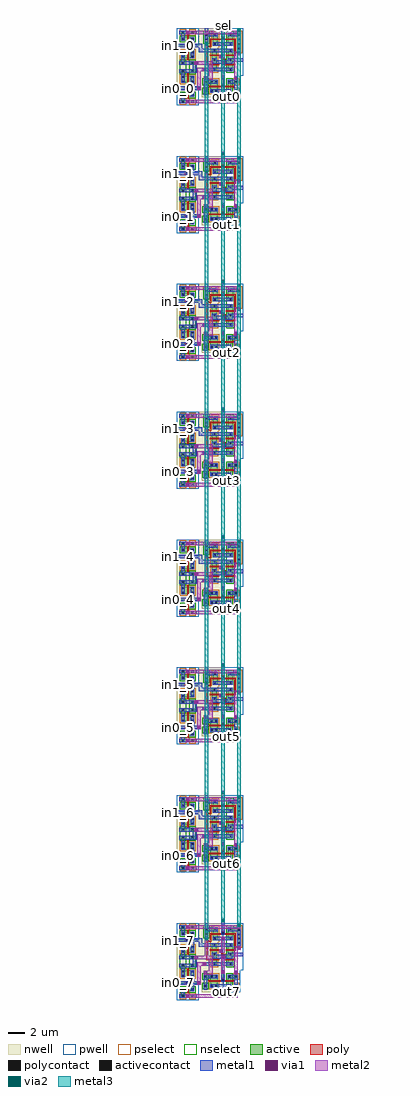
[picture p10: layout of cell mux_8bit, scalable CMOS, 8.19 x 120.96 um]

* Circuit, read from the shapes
.subckt mux_8bit GND_ Vdd_ in0_0 in0_1 in0_2 in0_3 in0_4 in0_5 in0_6 in0_7 in1_0 in1_1 in1_2 in1_3 in1_4 in1_5 in1_6 in1_7 out0 out1 out2 out3 out4 out5 out6 out7 sel
M1 mux_one_0/2mux_nr_0/in0 in0_7 GND_ GND_ nfet w=0.45u l=0.18u
M2 mux_one_0/2mux_nr_0/in1 in1_7 GND_ GND_ nfet w=0.45u l=0.18u
M3 mux_one_1/2mux_nr_0/in0 in0_6 GND_ GND_ nfet w=0.45u l=0.18u
M4 mux_one_1/2mux_nr_0/in1 in1_6 GND_ GND_ nfet w=0.45u l=0.18u
M5 mux_one_2/2mux_nr_0/in0 in0_5 GND_ GND_ nfet w=0.45u l=0.18u
M6 mux_one_2/2mux_nr_0/in1 in1_5 GND_ GND_ nfet w=0.45u l=0.18u
M7 mux_one_3/2mux_nr_0/in0 in0_4 GND_ GND_ nfet w=0.45u l=0.18u
M8 mux_one_3/2mux_nr_0/in1 in1_4 GND_ GND_ nfet w=0.45u l=0.18u
M9 mux_one_4/2mux_nr_0/in0 in0_3 GND_ GND_ nfet w=0.45u l=0.18u
M10 mux_one_4/2mux_nr_0/in1 in1_3 GND_ GND_ nfet w=0.45u l=0.18u
M11 mux_one_5/2mux_nr_0/in0 in0_2 GND_ GND_ nfet w=0.45u l=0.18u
M12 mux_one_5/2mux_nr_0/in1 in1_2 GND_ GND_ nfet w=0.45u l=0.18u
M13 mux_one_6/2mux_nr_0/in0 in0_1 GND_ GND_ nfet w=0.45u l=0.18u
M14 mux_one_6/2mux_nr_0/in1 in1_1 GND_ GND_ nfet w=0.45u l=0.18u
M15 mux_one_7/2mux_nr_0/in0 in0_0 GND_ GND_ nfet w=0.45u l=0.18u
M16 mux_one_7/2mux_nr_0/in1 in1_0 GND_ GND_ nfet w=0.45u l=0.18u
M17 GND_ mux_one_0/2mux_nr_0/out out7 GND_ nfet w=0.45u l=0.18u
M18 mux_one_0/2mux_nr_0/out n1 mux_one_0/2mux_nr_0/in0 GND_ nfet w=0.63u l=0.18u
M19 mux_one_0/2mux_nr_0/in1 sel mux_one_0/2mux_nr_0/out GND_ nfet w=0.63u l=0.18u
M20 GND_ sel n1 GND_ nfet w=0.63u l=0.18u
M21 GND_ mux_one_1/2mux_nr_0/out out6 GND_ nfet w=0.45u l=0.18u
M22 mux_one_1/2mux_nr_0/out n2 mux_one_1/2mux_nr_0/in0 GND_ nfet w=0.63u l=0.18u
M23 mux_one_1/2mux_nr_0/in1 sel mux_one_1/2mux_nr_0/out GND_ nfet w=0.63u l=0.18u
M24 GND_ sel n2 GND_ nfet w=0.63u l=0.18u
M25 GND_ mux_one_2/2mux_nr_0/out out5 GND_ nfet w=0.45u l=0.18u
M26 mux_one_2/2mux_nr_0/out n3 mux_one_2/2mux_nr_0/in0 GND_ nfet w=0.63u l=0.18u
M27 mux_one_2/2mux_nr_0/in1 sel mux_one_2/2mux_nr_0/out GND_ nfet w=0.63u l=0.18u
M28 GND_ sel n3 GND_ nfet w=0.63u l=0.18u
M29 GND_ mux_one_3/2mux_nr_0/out out4 GND_ nfet w=0.45u l=0.18u
M30 mux_one_3/2mux_nr_0/out n4 mux_one_3/2mux_nr_0/in0 GND_ nfet w=0.63u l=0.18u
M31 mux_one_3/2mux_nr_0/in1 sel mux_one_3/2mux_nr_0/out GND_ nfet w=0.63u l=0.18u
M32 GND_ sel n4 GND_ nfet w=0.63u l=0.18u
M33 GND_ mux_one_4/2mux_nr_0/out out3 GND_ nfet w=0.45u l=0.18u
M34 mux_one_4/2mux_nr_0/out n5 mux_one_4/2mux_nr_0/in0 GND_ nfet w=0.63u l=0.18u
M35 mux_one_4/2mux_nr_0/in1 sel mux_one_4/2mux_nr_0/out GND_ nfet w=0.63u l=0.18u
M36 GND_ sel n5 GND_ nfet w=0.63u l=0.18u
M37 GND_ mux_one_5/2mux_nr_0/out out2 GND_ nfet w=0.45u l=0.18u
M38 mux_one_5/2mux_nr_0/out n6 mux_one_5/2mux_nr_0/in0 GND_ nfet w=0.63u l=0.18u
M39 mux_one_5/2mux_nr_0/in1 sel mux_one_5/2mux_nr_0/out GND_ nfet w=0.63u l=0.18u
M40 GND_ sel n6 GND_ nfet w=0.63u l=0.18u
M41 GND_ mux_one_6/2mux_nr_0/out out1 GND_ nfet w=0.45u l=0.18u
M42 mux_one_6/2mux_nr_0/out n7 mux_one_6/2mux_nr_0/in0 GND_ nfet w=0.63u l=0.18u
M43 mux_one_6/2mux_nr_0/in1 sel mux_one_6/2mux_nr_0/out GND_ nfet w=0.63u l=0.18u
M44 GND_ sel n7 GND_ nfet w=0.63u l=0.18u
M45 GND_ mux_one_7/2mux_nr_0/out out0 GND_ nfet w=0.45u l=0.18u
M46 mux_one_7/2mux_nr_0/out n8 mux_one_7/2mux_nr_0/in0 GND_ nfet w=0.63u l=0.18u
M47 mux_one_7/2mux_nr_0/in1 sel mux_one_7/2mux_nr_0/out GND_ nfet w=0.63u l=0.18u
M48 GND_ sel n8 GND_ nfet w=0.63u l=0.18u
M49 mux_one_0/2mux_nr_0/in0 in0_7 Vdd_ Vdd_ pfet w=0.9u l=0.18u
M50 mux_one_0/2mux_nr_0/in1 in1_7 Vdd_ Vdd_ pfet w=0.9u l=0.18u
M51 mux_one_1/2mux_nr_0/in0 in0_6 Vdd_ Vdd_ pfet w=0.9u l=0.18u
M52 mux_one_1/2mux_nr_0/in1 in1_6 Vdd_ Vdd_ pfet w=0.9u l=0.18u
M53 mux_one_2/2mux_nr_0/in0 in0_5 Vdd_ Vdd_ pfet w=0.9u l=0.18u
M54 mux_one_2/2mux_nr_0/in1 in1_5 Vdd_ Vdd_ pfet w=0.9u l=0.18u
M55 mux_one_3/2mux_nr_0/in0 in0_4 Vdd_ Vdd_ pfet w=0.9u l=0.18u
M56 mux_one_3/2mux_nr_0/in1 in1_4 Vdd_ Vdd_ pfet w=0.9u l=0.18u
M57 mux_one_4/2mux_nr_0/in0 in0_3 Vdd_ Vdd_ pfet w=0.9u l=0.18u
M58 mux_one_4/2mux_nr_0/in1 in1_3 Vdd_ Vdd_ pfet w=0.9u l=0.18u
M59 mux_one_5/2mux_nr_0/in0 in0_2 Vdd_ Vdd_ pfet w=0.9u l=0.18u
M60 mux_one_5/2mux_nr_0/in1 in1_2 Vdd_ Vdd_ pfet w=0.9u l=0.18u
M61 mux_one_6/2mux_nr_0/in0 in0_1 Vdd_ Vdd_ pfet w=0.9u l=0.18u
M62 mux_one_6/2mux_nr_0/in1 in1_1 Vdd_ Vdd_ pfet w=0.9u l=0.18u
M63 mux_one_7/2mux_nr_0/in0 in0_0 Vdd_ Vdd_ pfet w=0.9u l=0.18u
M64 mux_one_7/2mux_nr_0/in1 in1_0 Vdd_ Vdd_ pfet w=0.9u l=0.18u
M65 Vdd_ mux_one_0/2mux_nr_0/out out7 Vdd_ pfet w=0.9u l=0.18u
M66 Vdd_ mux_one_1/2mux_nr_0/out out6 Vdd_ pfet w=0.9u l=0.18u
M67 Vdd_ mux_one_2/2mux_nr_0/out out5 Vdd_ pfet w=0.9u l=0.18u
M68 Vdd_ mux_one_3/2mux_nr_0/out out4 Vdd_ pfet w=0.9u l=0.18u
M69 Vdd_ mux_one_4/2mux_nr_0/out out3 Vdd_ pfet w=0.9u l=0.18u
M70 Vdd_ mux_one_5/2mux_nr_0/out out2 Vdd_ pfet w=0.9u l=0.18u
M71 Vdd_ mux_one_6/2mux_nr_0/out out1 Vdd_ pfet w=0.9u l=0.18u
M72 Vdd_ mux_one_7/2mux_nr_0/out out0 Vdd_ pfet w=0.9u l=0.18u
M73 mux_one_0/2mux_nr_0/out sel mux_one_0/2mux_nr_0/in0 Vdd_ pfet w=0.63u l=0.18u
M74 mux_one_0/2mux_nr_0/in1 n1 mux_one_0/2mux_nr_0/out Vdd_ pfet w=0.63u l=0.18u
M75 mux_one_1/2mux_nr_0/out sel mux_one_1/2mux_nr_0/in0 Vdd_ pfet w=0.63u l=0.18u
M76 mux_one_1/2mux_nr_0/in1 n2 mux_one_1/2mux_nr_0/out Vdd_ pfet w=0.63u l=0.18u
M77 mux_one_2/2mux_nr_0/out sel mux_one_2/2mux_nr_0/in0 Vdd_ pfet w=0.63u l=0.18u
M78 mux_one_2/2mux_nr_0/in1 n3 mux_one_2/2mux_nr_0/out Vdd_ pfet w=0.63u l=0.18u
M79 mux_one_3/2mux_nr_0/out sel mux_one_3/2mux_nr_0/in0 Vdd_ pfet w=0.63u l=0.18u
M80 mux_one_3/2mux_nr_0/in1 n4 mux_one_3/2mux_nr_0/out Vdd_ pfet w=0.63u l=0.18u
M81 mux_one_4/2mux_nr_0/out sel mux_one_4/2mux_nr_0/in0 Vdd_ pfet w=0.63u l=0.18u
M82 mux_one_4/2mux_nr_0/in1 n5 mux_one_4/2mux_nr_0/out Vdd_ pfet w=0.63u l=0.18u
M83 mux_one_5/2mux_nr_0/out sel mux_one_5/2mux_nr_0/in0 Vdd_ pfet w=0.63u l=0.18u
M84 mux_one_5/2mux_nr_0/in1 n6 mux_one_5/2mux_nr_0/out Vdd_ pfet w=0.63u l=0.18u
M85 mux_one_6/2mux_nr_0/out sel mux_one_6/2mux_nr_0/in0 Vdd_ pfet w=0.63u l=0.18u
M86 mux_one_6/2mux_nr_0/in1 n7 mux_one_6/2mux_nr_0/out Vdd_ pfet w=0.63u l=0.18u
M87 mux_one_7/2mux_nr_0/out sel mux_one_7/2mux_nr_0/in0 Vdd_ pfet w=0.63u l=0.18u
M88 mux_one_7/2mux_nr_0/in1 n8 mux_one_7/2mux_nr_0/out Vdd_ pfet w=0.63u l=0.18u
M89 Vdd_ sel n1 Vdd_ pfet w=0.63u l=0.18u
M90 Vdd_ sel n2 Vdd_ pfet w=0.63u l=0.18u
M91 Vdd_ sel n3 Vdd_ pfet w=0.63u l=0.18u
M92 Vdd_ sel n4 Vdd_ pfet w=0.63u l=0.18u
M93 Vdd_ sel n5 Vdd_ pfet w=0.63u l=0.18u
M94 Vdd_ sel n6 Vdd_ pfet w=0.63u l=0.18u
M95 Vdd_ sel n7 Vdd_ pfet w=0.63u l=0.18u
M96 Vdd_ sel n8 Vdd_ pfet w=0.63u l=0.18u
.ends

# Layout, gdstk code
from math import pi, radians
import gdstk
lib = gdstk.Library(unit=1e-6, precision=1e-09)
def R(c, l, rs):  # rectangles x0, y0, x1, y1
    for r in rs: c.add(gdstk.rectangle(r[:2], r[2:], *l))
def A(c, l, x, y, w, h, nx, ny, dx, dy):  # array of equal rectangles
    R(c, l, [(x+i*dx, y+j*dy, x+i*dx+w, y+j*dy+h) for i in range(nx) for j in range(ny)])
pwell = (41, 0)
nwell = (42, 0)
active = (43, 0)
pselect = (44, 0)
nselect = (45, 0)
poly = (46, 0)
polycontact = (47, 0)
activecontact = (48, 0)
metal1 = (49, 0)
via1 = (50, 0)
metal2 = (51, 0)
via2 = (61, 0)
metal3 = (62, 0)

c_2mux_nr = lib.new_cell('2mux_nr')
R(c_2mux_nr, pwell, [(0.09,-3.42,2.61,2.43)])
R(c_2mux_nr, nwell, [(-2.88,-3.42,0.09,2.43)])
R(c_2mux_nr, active, [(-1.26,-2.88,-0.63,-0.09), (0.72,-2.88,1.35,-0.09), (1.89,-0.45,2.34,1.98), (-1.17,0.27,-0.54,1.89), (0.72,0.27,1.35,1.89), (-2.16,0.72,-1.71,1.98)])
R(c_2mux_nr, pselect, [(-1.44,-3.06,-0.45,0.09), (1.71,-0.63,2.52,2.16), (-1.35,0.09,-0.36,2.07)])
R(c_2mux_nr, nselect, [(0.54,-3.06,1.53,2.07), (-2.34,0.54,-1.53,2.16)])
R(c_2mux_nr, poly, [(-1.98,-2.16,-0.36,-1.98), (0.27,-2.16,1.62,-1.98), (-1.98,-1.98,-1.8,0.09), (0.27,-1.98,0.45,-1.53), (-0.09,-1.53,0.45,-1.35), (-0.09,-1.35,0.09,-1.26), (-0.36,-1.26,0.09,-0.99), (-1.53,-0.99,0.09,-0.81), (0.45,-0.99,1.71,-0.81), (1.53,-0.81,1.71,0.99), (-1.98,0.09,-1.35,0.27), (-1.53,0.27,-1.35,0.99), (-1.53,0.99,1.71,1.17), (-0.09,1.17,0.36,1.44)])
R(c_2mux_nr, polycontact, [(-0.225,-1.125,-0.045,-0.945), (0.045,1.125,0.225,1.305)])
A(c_2mux_nr, activecontact, -1.035, -2.745, 0.18, 0.18, 1, 3, 0, 1.17)
A(c_2mux_nr, activecontact, 0.945, -2.745, 0.18, 0.18, 1, 3, 0, 1.17)
A(c_2mux_nr, activecontact, 2.025, -0.135, 0.18, 0.18, 1, 4, 0, 0.54)
R(c_2mux_nr, activecontact, [(-0.945,0.405,-0.765,0.585), (0.945,0.405,1.125,0.585), (-2.025,0.99,-1.845,1.17), (-2.025,1.53,-1.845,1.71), (-0.945,1.575,-0.765,1.755), (0.945,1.575,1.125,1.755)])
R(c_2mux_nr, metal1, [(-2.43,-2.88,1.35,-2.43), (-1.26,-1.98,1.35,-1.71), (-1.26,-1.71,2.61,-1.53), (-1.26,-1.53,-0.63,-1.26), (0.72,-1.53,2.61,-1.26), (-0.36,-1.26,0.09,-0.81), (1.89,-0.9,2.34,1.44), (-2.43,-0.54,1.35,-0.09), (-2.16,0.27,-1.71,1.44), (-1.17,0.27,1.35,0.72), (-0.09,0.99,0.36,2.43), (-2.16,1.44,-0.54,1.89), (0.72,1.44,2.34,1.89), (-2.16,1.89,-1.71,2.43), (1.89,1.89,2.34,2.43)])
R(c_2mux_nr, via1, [(-0.27,-1.17,0,-0.9), (0,0.36,0.27,0.63)])
R(c_2mux_nr, metal2, [(-0.36,-1.26,0.36,-0.81), (-0.09,-0.81,0.36,0.72)])
c_2mux_nr.add(gdstk.Label('s', (0.135,2.43), layer=49, texttype=0))
c_2mux_nr.add(gdstk.Label('GND_', (2.115,2.43), layer=49, texttype=0))
c_2mux_nr.add(gdstk.Label('out', (2.61,-1.485), layer=49, texttype=0))
c_2mux_nr.add(gdstk.Label('Vdd_', (-1.935,2.43), layer=49, texttype=0))
c_2mux_nr.add(gdstk.Label('in1', (-2.43,-0.315), layer=49, texttype=0))
c_2mux_nr.add(gdstk.Label('in0', (-2.43,-2.655), layer=49, texttype=0))

inv2 = lib.new_cell('inv2')
R(inv2, pwell, [(-0.9,-1.17,1.8,0.9)])
R(inv2, nwell, [(-0.9,0.99,1.8,3.6)])
R(inv2, active, [(-0.36,-0.9,0.09,-0.45), (0.81,-0.9,1.26,-0.45), (-0.36,-0.09,1.26,0.36), (-0.36,1.62,1.26,2.52), (-0.36,2.88,0.09,3.33), (0.81,2.88,1.26,3.33)])
R(inv2, pselect, [(-0.54,-1.08,0.27,-0.27), (0.63,-1.08,1.44,-0.27), (-0.54,1.44,1.44,2.7)])
R(inv2, nselect, [(-0.54,-0.27,1.44,0.54), (-0.54,2.7,0.27,3.51), (0.63,2.7,1.44,3.51)])
R(inv2, poly, [(0.36,-0.36,0.54,0.72), (0.09,0.72,0.54,1.17), (0.36,1.17,0.54,2.79)])
R(inv2, polycontact, [(0.225,0.855,0.405,1.035)])
R(inv2, activecontact, [(-0.225,-0.765,-0.045,-0.585), (0.945,-0.765,1.125,-0.585), (-0.225,0.045,-0.045,0.225), (0.945,0.045,1.125,0.225), (-0.225,1.71,-0.045,1.89), (0.945,1.71,1.125,1.89), (-0.225,2.25,-0.045,2.43), (0.945,2.25,1.125,2.43), (-0.225,3.015,-0.045,3.195), (0.945,3.015,1.125,3.195)])
R(inv2, metal1, [(-0.63,-0.9,1.53,-0.45), (-0.36,-0.45,0.09,0.36), (0.81,-0.09,1.26,0.72), (-0.9,0.72,0.54,1.17), (0.81,0.72,1.8,1.17), (0.81,1.17,1.26,2.52), (-0.36,1.62,0.09,2.88), (-0.63,2.88,1.53,3.33)])
inv2.add(gdstk.Label('GND_', (-0.45,-0.63), layer=49, texttype=0))
inv2.add(gdstk.Label('Vdd_', (-0.45,3.06), layer=49, texttype=0))

mux_one = lib.new_cell('mux_one')
R(mux_one, nwell, [(-2.25,-0.9,-1.8,-0.81), (-2.25,-0.81,-1.62,0.63), (-1.98,0.63,-1.62,1.17), (-1.98,1.17,-1.44,1.62)])
R(mux_one, nselect, [(-4.5,1.62,-3.69,1.8), (-3.33,1.62,-2.52,1.8)])
R(mux_one, metal1, [(-3.69,-2.79,-3.24,-2.34), (0.63,-2.25,1.08,-1.89), (2.25,-1.98,2.7,-1.53), (-4.86,-1.17,-4.41,-0.72), (-2.34,-1.17,-1.89,-0.72), (-1.53,0.09,-1.08,0.54), (2.25,0.09,2.7,0.54), (0.63,0.18,1.08,0.63), (-2.88,0.99,-2.43,1.98), (-1.71,1.17,-1.26,1.62), (-2.88,1.98,-2.25,2.43), (0.63,1.98,1.08,2.43), (2.61,3.15,3.06,3.6), (-2.16,3.51,-1.71,4.59), (-4.86,4.14,-4.41,4.59), (-1.44,4.32,-0.99,4.77), (-3.69,5.76,-3.24,6.21), (2.61,6.03,3.06,6.48), (0.63,6.21,1.08,6.48)])
R(mux_one, via1, [(-3.6,-2.7,-3.33,-2.43), (2.34,-1.89,2.61,-1.62), (-2.25,-1.08,-1.98,-0.81), (-1.44,0.18,-1.17,0.45), (2.34,0.18,2.61,0.45), (0.72,0.27,0.99,0.54), (-1.62,1.26,-1.35,1.53), (-2.61,2.07,-2.34,2.34), (0.72,2.07,0.99,2.34), (2.7,3.24,2.97,3.51), (-1.35,4.41,-1.08,4.68), (-3.6,5.85,-3.33,6.12), (2.7,6.12,2.97,6.39)])
R(mux_one, metal2, [(-3.69,-2.79,2.7,-2.34), (2.25,-2.34,2.7,-1.53), (-2.34,-1.17,-1.89,1.17), (-1.53,0.09,-0.45,0.54), (2.25,0.09,2.7,3.15), (0.63,0.18,1.08,2.43), (-0.9,0.54,-0.45,1.98), (-2.34,1.17,-1.26,1.62), (-2.7,1.98,-0.45,2.43), (-1.44,2.43,-0.99,4.77), (2.25,3.15,3.06,3.6), (-3.69,5.76,3.06,6.21), (2.61,6.21,3.06,6.48)])
mux_one.add(gdstk.Reference(c_2mux_nr, (0.72,4.05)))
mux_one.add(gdstk.Reference(inv2, (-3.96,-1.89)))
mux_one.add(gdstk.Reference(inv2, (1.8,-0.27), rotation=3*pi/2, x_reflection=True))
mux_one.add(gdstk.Reference(inv2, (-3.96,5.31), x_reflection=True))
mux_one.add(gdstk.Label('out', (0.855,-2.07), layer=49, texttype=0))
mux_one.add(gdstk.Label('in1', (-4.635,4.365), layer=49, texttype=0))
mux_one.add(gdstk.Label('in0', (-4.635,-0.945), layer=49, texttype=0))
mux_one.add(gdstk.Label('Vdd_', (-1.215,4.545), layer=51, texttype=0))
mux_one.add(gdstk.Label('GND_', (2.835,6.255), layer=51, texttype=0))
mux_one.add(gdstk.Label('sel', (0.855,6.345), layer=49, texttype=0))

mux_8bit = lib.new_cell('mux_8bit')
A(mux_8bit, metal1, 6.03, -109.71, 0.45, 0.45, 1, 8, 0, 15.84)
A(mux_8bit, metal1, 3.51, -103.14, 0.45, 0.45, 1, 8, 0, 15.84)
A(mux_8bit, metal1, 7.56, -101.43, 0.45, 0.45, 1, 8, 0, 15.84)
A(mux_8bit, metal1, 5.58, -101.07, 0.45, 0.63, 1, 8, 0, 15.84)
R(mux_8bit, metal1, [(0.09,-108.63,0.54,-108.18), (0.09,-103.32,0.54,-102.87), (0.09,-92.79,0.54,-92.34), (0.09,-87.48,0.54,-87.03), (0.09,-76.95,0.54,-76.5), (0.09,-71.64,0.54,-71.19), (0.09,-61.11,0.54,-60.66), (0.09,-55.8,0.54,-55.35), (0.09,-45.27,0.54,-44.82), (0.09,-39.96,0.54,-39.51), (0.09,-29.43,0.54,-28.98), (0.09,-24.12,0.54,-23.67), (0.09,-13.59,0.54,-13.14), (0.09,-8.28,0.54,-7.83), (0.09,2.25,0.54,2.7), (0.09,7.56,0.54,8.01)])
A(mux_8bit, via1, 3.6, -103.05, 0.27, 0.27, 1, 8, 0, 15.84)
A(mux_8bit, via1, 7.65, -101.34, 0.27, 0.27, 1, 8, 0, 15.84)
A(mux_8bit, via1, 5.67, -100.8, 0.27, 0.27, 1, 8, 0, 15.84)
A(mux_8bit, metal2, 3.51, -103.14, 0.45, 0.45, 1, 8, 0, 15.84)
A(mux_8bit, metal2, 7.56, -101.43, 0.45, 0.45, 1, 8, 0, 15.84)
A(mux_8bit, metal2, 5.58, -100.89, 0.45, 0.45, 1, 8, 0, 15.84)
A(mux_8bit, via2, 3.6, -103.05, 0.27, 0.27, 1, 8, 0, 15.84)
A(mux_8bit, via2, 7.65, -101.34, 0.27, 0.27, 1, 8, 0, 15.84)
A(mux_8bit, via2, 5.67, -100.8, 0.27, 0.27, 1, 8, 0, 15.84)
R(mux_8bit, metal3, [(3.51,-103.14,3.96,8.19), (7.56,-101.43,8.01,9.9), (5.58,-100.89,6.03,10.44)])
mux_8bit.add(gdstk.Reference(mux_one, (4.95,-107.46)))
mux_8bit.add(gdstk.Reference(mux_one, (4.95,-91.62)))
mux_8bit.add(gdstk.Reference(mux_one, (4.95,-75.78)))
mux_8bit.add(gdstk.Reference(mux_one, (4.95,-59.94)))
mux_8bit.add(gdstk.Reference(mux_one, (4.95,-44.1)))
mux_8bit.add(gdstk.Reference(mux_one, (4.95,-28.26)))
mux_8bit.add(gdstk.Reference(mux_one, (4.95,-12.42)))
mux_8bit.add(gdstk.Reference(mux_one, (4.95,3.42)))
mux_8bit.add(gdstk.Label('out0', (6.255,1.395), layer=49, texttype=0))
mux_8bit.add(gdstk.Label('out1', (6.255,-14.445), layer=49, texttype=0))
mux_8bit.add(gdstk.Label('out2', (6.255,-30.285), layer=49, texttype=0))
mux_8bit.add(gdstk.Label('out3', (6.255,-46.125), layer=49, texttype=0))
mux_8bit.add(gdstk.Label('out4', (6.255,-61.965), layer=49, texttype=0))
mux_8bit.add(gdstk.Label('out5', (6.255,-77.805), layer=49, texttype=0))
mux_8bit.add(gdstk.Label('out6', (6.255,-93.645), layer=49, texttype=0))
mux_8bit.add(gdstk.Label('out7', (6.255,-109.485), layer=49, texttype=0))
mux_8bit.add(gdstk.Label('in0_7', (0.315,-108.405), layer=49, texttype=0))
mux_8bit.add(gdstk.Label('in0_6', (0.315,-92.565), layer=49, texttype=0))
mux_8bit.add(gdstk.Label('in0_5', (0.315,-76.725), layer=49, texttype=0))
mux_8bit.add(gdstk.Label('in0_4', (0.315,-60.885), layer=49, texttype=0))
mux_8bit.add(gdstk.Label('in0_3', (0.315,-45.045), layer=49, texttype=0))
mux_8bit.add(gdstk.Label('in0_2', (0.315,-29.205), layer=49, texttype=0))
mux_8bit.add(gdstk.Label('in0_1', (0.315,-13.365), layer=49, texttype=0))
mux_8bit.add(gdstk.Label('in0_0', (0.315,2.475), layer=49, texttype=0))
mux_8bit.add(gdstk.Label('in1_0', (0.315,7.785), layer=49, texttype=0))
mux_8bit.add(gdstk.Label('in1_1', (0.315,-8.055), layer=49, texttype=0))
mux_8bit.add(gdstk.Label('in1_2', (0.315,-23.895), layer=49, texttype=0))
mux_8bit.add(gdstk.Label('in1_3', (0.315,-39.735), layer=49, texttype=0))
mux_8bit.add(gdstk.Label('in1_4', (0.315,-55.575), layer=49, texttype=0))
mux_8bit.add(gdstk.Label('in1_5', (0.315,-71.415), layer=49, texttype=0))
mux_8bit.add(gdstk.Label('in1_6', (0.315,-87.255), layer=49, texttype=0))
mux_8bit.add(gdstk.Label('in1_7', (0.315,-103.095), layer=49, texttype=0))
mux_8bit.add(gdstk.Label('sel', (5.805,10.215), layer=62, texttype=0))
mux_8bit.add(gdstk.Label('Vdd_', (3.735,7.965), layer=62, texttype=0))
mux_8bit.add(gdstk.Label('GND_', (7.785,9.675), layer=62, texttype=0))

lib.write_gds('mux_8bit.gds')
